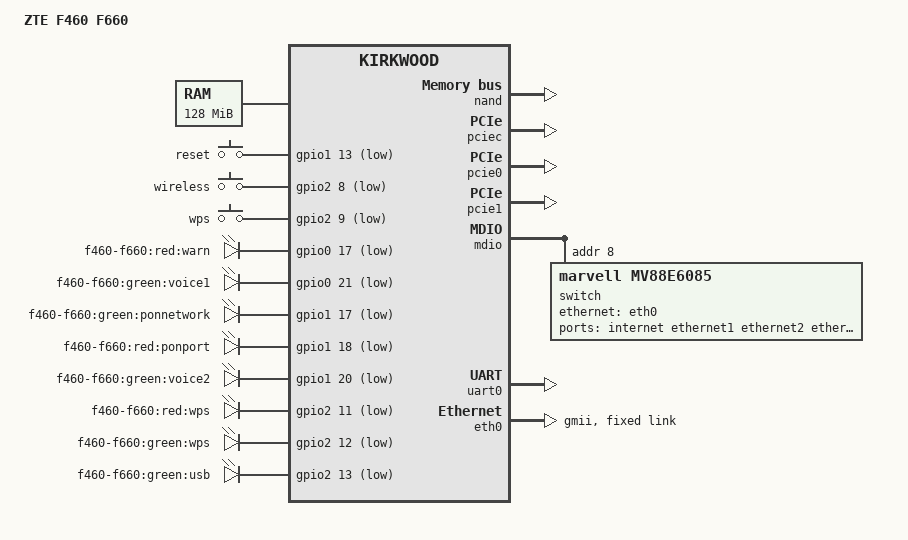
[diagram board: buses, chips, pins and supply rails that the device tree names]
/*
 * Device Tree file for zte f460 and f660
 * 
 *   (c) 2021 winnt5 <jiconglu58@gmail.com>
 *
 * based on
 *
 * Copyright (c) 2021 bodhi <mibodhi@gmail.com>
 *
 * based on 
 *  (c) 2015 Claudio Leite <leitec@staticky.com>
 *
 * based on kirkwood-ea4500.dts,
 *   (c) 2013 Jonas Gorski <jogo@openwrt.org>
 *   (c) 2013 Deutsche Telekom Innovation Laboratories
 *   (c) 2014 Luka Perkov <luka@openwrt.org>
 *
 * This file is licensed under the terms of the GNU General Public
 * License version 2.  This program is licensed "as is" without any
 * warranty of any kind, whether express or implied.
 */

/dts-v1/;

#include "avanta.dtsi"
#include "avanta-6560.dtsi"

/ {
	model = "ZTE F460 F660";
	compatible = "zte,f460-f660", "marvell,kirkwood-88f6282", "marvell,kirkwood";

	memory {
		device_type = "memory";
		reg = <0x00000000 0x8000000>;
	};

	aliases {
		serial0 = &uart0;
	};

	chosen {
		stdout-path = "serial0:115200n8";
	};

	gpio_keys {
		compatible = "gpio-keys";

		button@13 {
			label = "reset";
			linux,code = <KEY_RESTART>;
			gpios = <&gpio1 13 GPIO_ACTIVE_LOW>;
		};

		button@8 {
			label = "wireless";
			linux,code = <KEY_RFKILL>;
			gpios = <&gpio2 8 GPIO_ACTIVE_LOW>;
		};

		button@9 {
			label = "wps";
			linux,code = <KEY_WPS_BUTTON>;
			gpios = <&gpio2 9 GPIO_ACTIVE_LOW>;
		};
	};

	gpio-leds {
		compatible = "gpio-leds";

		red-warn {
			label = "f460-f660:red:warn";
			gpios = <&gpio0 17 GPIO_ACTIVE_LOW>;
		};

		green-voice1 {
			label = "f460-f660:green:voice1";
			gpios = <&gpio0 21 GPIO_ACTIVE_LOW>;
		};

		green-ponnetwork {
			label = "f460-f660:green:ponnetwork";
			gpios = <&gpio1 17 GPIO_ACTIVE_LOW>;
		};

		red-ponport {
			label = "f460-f660:red:ponport";
			gpios = <&gpio1 18 GPIO_ACTIVE_LOW>;
		};

		green-voice2 {
			label = "f460-f660:green:voice2";
			gpios = <&gpio1 20 GPIO_ACTIVE_LOW>;
		};

		red-wps {
			label = "f460-f660:red:wps";
			gpios = <&gpio2 11 GPIO_ACTIVE_LOW>;
		};

		green-wps {
			label = "f460-f660:green:wps";
			gpios = <&gpio2 12 GPIO_ACTIVE_LOW>;
		};

		green-usb {
			label = "f460-f660:green:usb";
			gpios = <&gpio2 13 GPIO_ACTIVE_LOW>;
		};
	};
};

&nand {
	status = "okay";

	partitions {
		compatible = "fixed-partitions";
		#address-cells = <1>;
		#size-cells = <1>;

		partition@0 {
			label = "u-boot";
			reg = <0x0 0xc0000>;
			read-only;
		};

		partition@c0000 {
			label = "uboot_env";
			reg = <0xc0000 0x40000>;
		};

		partition@100000 {
			label = "kernel";
			reg = <0x100000 0x300000>;
		};

		partition@400000 {
			label = "ubi";
			reg = <0x400000 0x1c00000>;
		};
	};
};

&pciec {
	status = "okay";
};

&pcie0 {
	status = "okay";
};

&pcie1 {
	status = "okay";
};

&mdio {
	status = "okay";

	switch@8 {
		compatible = "marvell,mv88e6085";
		#address-cells = <1>;
		#size-cells = <0>;
		reg = <8>;

		ports {
			#address-cells = <1>;
			#size-cells = <0>;

			port@0 {
				reg = <0>;
				label = "internet";
			};

			port@1 {
				reg = <1>;
				label = "ethernet1";
			};

			port@2 {
				reg = <2>;
				label = "ethernet2";
			};

			port@3 {
				reg = <3>;
				label = "ethernet3";
			};

			port@4 {
				reg = <4>;
				phy-mode = "gmii";
				ethernet = <&eth0>;
				fixed-link {
					speed = <1000>;
					full-duplex;
				};
			};
		};
	};
};

&uart0 {
	status = "okay";
};

/* eth0 is connected to a Marvell 88F6560 internal switch, without a PHY. So set
 * fixed speed and duplex.
 */
&eth0 {
	status = "okay";
	phy-mode = "gmii";
	fixed-link {
		speed = <1000>;
		full-duplex;
	};
};

&eth1 {
	status = "disabled";
};

/* There is no battery on the board, so the RTC does not keep
 * time when there is no power, making it useless.
 */
&rtc {
	status = "disabled";
};
